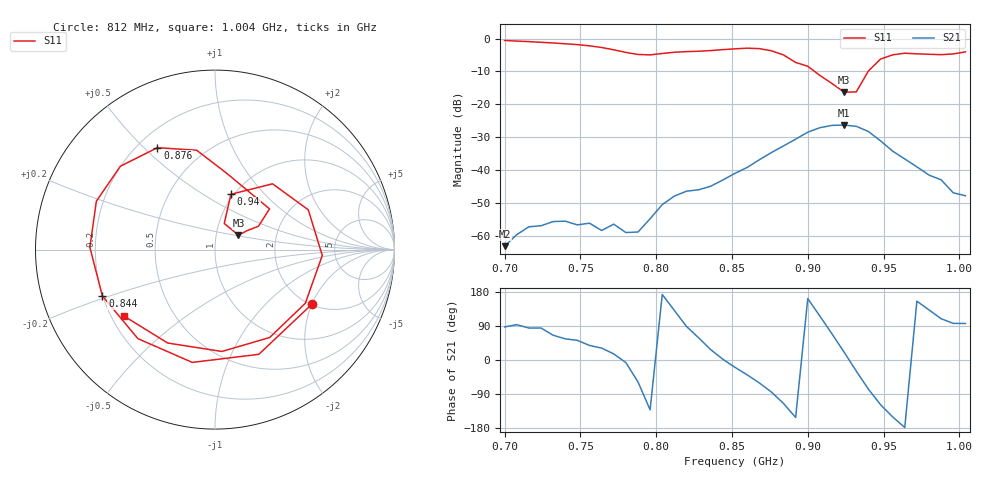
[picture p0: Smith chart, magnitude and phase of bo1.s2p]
# Hz S RI R 50
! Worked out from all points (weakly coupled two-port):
!   39 points, 700 MHz to 1.004 GHz, reference 50 ohm
!   highest |S21| = -26.28 dB at 924 MHz (marker M1); lowest = -63.1 dB at 700 MHz (marker M2)
!   lowest |S11| = -16.3 dB at 924 MHz (marker M3), VSWR 1.36, Z = 64.1 + j10.5 ohm
!   |S11| at or under -10 dB: 904.5 MHz to 939.9 MHz (35.32 MHz wide, 3.83 % of centre)
!   S12 and S22 are empty: the file has one direction only
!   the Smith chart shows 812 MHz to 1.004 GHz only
!   S11 on the Smith chart (normalised r, x): 812 MHz: 2.02, -2.00; 844 MHz: 0.20, -0.19; 876 MHz: 0.28, +0.55; 940 MHz: 0.97, +0.67; 1.004 GHz: 0.25, -0.31
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7e8  0.7637 0.5389  3.36e-05 0.000702  0 0  0 0
7.24e8  0.8395 -0.2522  0.000139 0.00143  0 0  0 0
7.4e8  0.4513 -0.6998  0.000947 0.00139  0 0  0 0
7.56e8  -0.1893 -0.7509  0.00123 0.000975  0 0  0 0
7.72e8  -0.6473 -0.1878  0.00146 0.00042  0 0  0 0
7.8e8  -0.5704 0.2316  0.00112 -0.000133  0 0  0 0
7.88e8  -0.2132 0.5314  0.000614 -0.000976  0 0  0 0
7.96e8  0.2719 0.4947  -0.00122 -0.00138  0 0  0 0
8.04e8  0.5764 0.1359  -0.00298 0.000376  0 0  0 0
8.12e8  0.5394 -0.3047  -0.00265 0.00306  0 0  0 0
8.28e8  -0.1265 -0.6285  0.00264 0.00431  0 0  0 0
8.44e8  -0.6276 -0.2578  0.00711 0.000247  0 0  0 0
8.52e8  -0.6971 0.0128  0.00847 -0.00298  0 0  0 0
8.76e8  -0.3213 0.5677  0.00178 -0.0185  0 0  0 0
9e8  0.3039 0.2269  -0.036 0.0117  0 0  0 0
9.08e8  0.2424 0.1303  -0.0193 0.0398  0 0  0 0
9.24e8  0.1309 0.0799  0.0454 0.0171  0 0  0 0
9.32e8  0.0515 0.1458  0.0405 -0.0227  0 0  0 0
9.4e8  0.0886 0.3081  0.00887 -0.0377  0 0  0 0
9.56e8  0.5197 0.2217  -0.0169 -0.00974  0 0  0 0
9.8e8  0.3048 -0.4898  -0.00566 0.00627  0 0  0 0
1.004e9  -0.5066 -0.3705  -0.000454 0.00407  0 0  0 0
